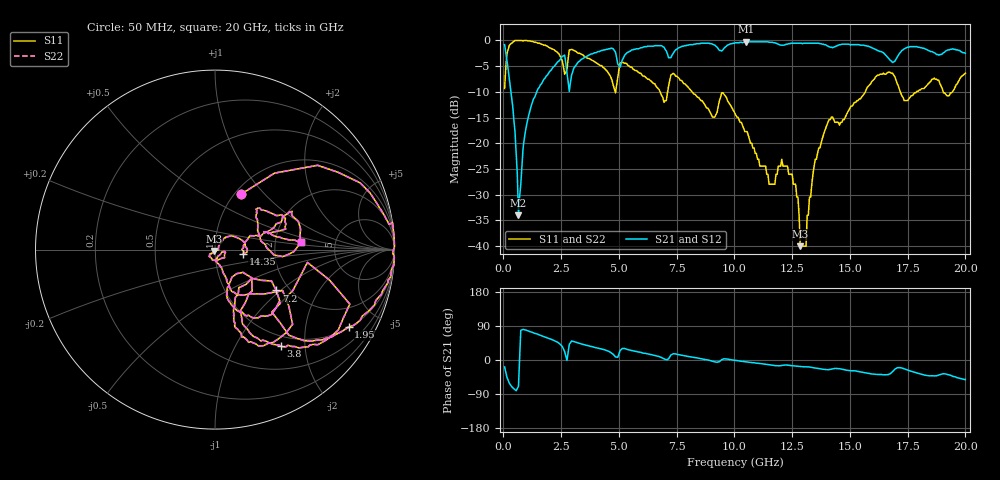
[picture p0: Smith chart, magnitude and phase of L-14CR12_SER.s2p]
#	mhz	s	ma	r	50
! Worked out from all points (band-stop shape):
!   400 points, 50 MHz to 20 GHz, reference 50 ohm
!   highest |S21| = -0.26 dB at 10.5 GHz (marker M1); lowest = -34.0 dB at 650 MHz (marker M2)
!   |S21| within 3 dB of the highest: 7.259 GHz to 16.63 GHz (9.374 GHz wide, 78.5 % of centre); 17.04 GHz to end of sweep (the widest 2 of 6)
!   lowest |S11| = -40.0 dB at 12.85 GHz (marker M3), VSWR 1.02, Z = 49.4 - j0.816 ohm
!   |S11| at or under -10 dB: 8.169 GHz to 15.67 GHz (7.497 GHz wide, 62.9 % of centre); 17.18 GHz to 17.88 GHz (697.2 MHz wide, 3.98 % of centre); 19.04 GHz to 19.43 GHz (392.1 MHz wide, 2.04 % of centre) (the widest 3 of 5)
!   |S22| runs from -40.0 to 0.0 dB; largest |S21 - S12| = 0
!   S11 on the Smith chart (normalised r, x): 50 MHz: 1.07, +0.74; 1.95 GHz: 1.04, -3.44; 3.8 GHz: 0.84, -1.56; 7.2 GHz: 1.71, -0.94; 14.35 GHz: 1.37, -0.07; 20 GHz: 2.81, +0.30
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50  0.34 64.9  0.91 -18.3  0.91 -18.3  0.34 64.9
250  0.89 24.7  0.43 -60.8  0.43 -60.8  0.89 24.7
500  1 8.5  0.13 -78.5  0.13 -78.5  1 8.5
650  1 5.1  0.02 -69.6  0.02 -69.6  1 5.1
1050  0.99 -6.4  0.17 77.4  0.17 77.4  0.99 -6.4
1950  0.86 -30.0  0.48 57.4  0.48 57.4  0.86 -30.0
2550  0.63 -49.2  0.7 35.4  0.7 35.4  0.63 -49.2
2750  0.52 -7.9  0.48 -1.2  0.48 -1.2  0.52 -7.9
3400  0.73 -48.3  0.66 41.8  0.66 41.8  0.73 -48.3
3800  0.65 -55.7  0.74 35.7  0.74 35.7  0.65 -55.7
6700  0.34 -71.8  0.89 9.6  0.89 9.6  0.34 -71.8
7200  0.41 -33.7  0.68 8.2  0.68 8.2  0.41 -33.7
10050  0.19 -69.7  0.95 -1.2  0.95 -1.2  0.19 -69.7
10500  0.13 -70.7  0.97 -5.0  0.97 -5.0  0.13 -70.7
11500  0.04 -68.8  0.96 -12.4  0.96 -12.4  0.04 -68.8
12500  0.05 -130.3  0.94 -15.0  0.94 -15.0  0.05 -130.3
12850  0.01 -124.4  0.94 -17.4  0.94 -17.4  0.01 -124.4
13100  0.01 -23.8  0.94 -18.1  0.94 -18.1  0.01 -23.8
13350  0.04 47.0  0.94 -19.8  0.94 -19.8  0.04 47.0
14350  0.16 -9.1  0.87 -22.2  0.87 -22.2  0.16 -9.1
16700  0.49 16.1  0.66 -37.4  0.66 -37.4  0.49 16.1
20000  0.48 4.9  0.75 -51.5  0.75 -51.5  0.48 4.9
